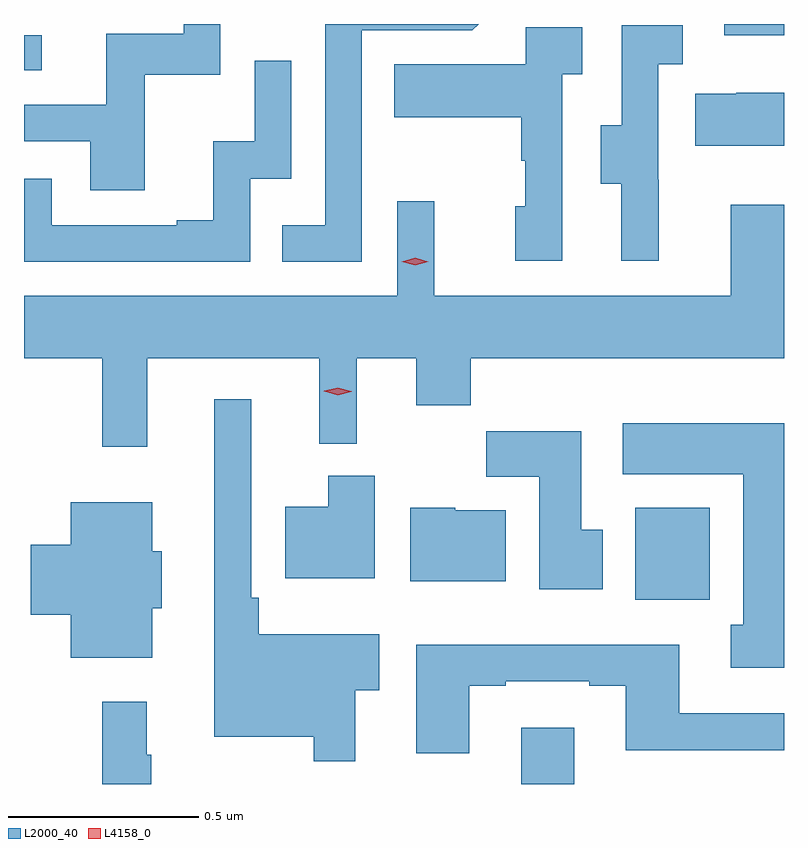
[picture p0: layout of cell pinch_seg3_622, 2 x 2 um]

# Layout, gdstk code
import gdstk
lib = gdstk.Library(unit=1e-6, precision=1e-09)
def R(c, l, rs):  # rectangles x0, y0, x1, y1
    for r in rs: c.add(gdstk.rectangle(r[:2], r[2:], *l))
def P(c, l, *ps):  # polygons
    for p in ps: c.add(gdstk.Polygon(p, *l))
L2000_40 = (2000, 40)
L4158_0 = (4158, 0)

pinch_seg3_622 = lib.new_cell('pinch_seg3_622')
R(pinch_seg3_622, L2000_40, [(1025.681,703.791,1025.821,703.939), (1025.981,704.276,1026.178,704.518), (1024.373,705.669,1024.42,705.762), (1026.216,705.761,1026.373,705.791)])
P(pinch_seg3_622, L2000_40, [(1024.691,705.657),(1024.89,705.657),(1024.89,705.791),(1024.794,705.791),(1024.794,705.765),(1024.589,705.765),(1024.589,705.579),(1024.373,705.579),(1024.373,705.483),(1024.547,705.483),(1024.547,705.354),(1024.691,705.354)],
  [(1025.262,705.774),(1025.553,705.774),(1025.57,705.791),(1025.166,705.791),(1025.166,705.261),(1025.053,705.261),(1025.053,705.165),(1025.262,705.165)],
  [(1026.044,705.381),(1026.042,705.381),(1026.042,705.685),(1026.106,705.685),(1026.106,705.788),(1025.946,705.788),(1025.946,705.525),(1025.891,705.525),(1025.891,705.37),(1025.945,705.37),(1025.945,705.168),(1026.044,705.168)],
  [(1025.79,705.659),(1025.842,705.659),(1025.842,705.783),(1025.694,705.783),(1025.694,705.685),(1025.347,705.685),(1025.347,705.545),(1025.682,705.545),(1025.682,705.431),(1025.692,705.431),(1025.692,705.312),(1025.666,705.312),(1025.666,705.168),(1025.79,705.168)],
  [(1024.968,705.384),(1025.076,705.384),(1025.076,705.694),(1024.98,705.694),(1024.98,705.482),(1024.871,705.482),(1024.871,705.274),(1024.775,705.274),(1024.775,705.261),(1024.446,705.261),(1024.446,705.384),(1024.373,705.384),(1024.373,705.165),(1024.968,705.165)],
  [(1026.373,705.61),(1026.247,705.61),(1026.247,705.607),(1026.139,705.607),(1026.139,705.47),(1026.373,705.47)],
  [(1024.697,704.912),(1025.15,704.912),(1025.15,704.687),(1025.248,704.687),(1025.248,704.912),(1025.405,704.912),(1025.405,704.788),(1025.549,704.788),(1025.549,704.912),(1026.373,704.912),(1026.373,705.316),(1026.233,705.316),(1026.233,705.076),(1025.453,705.076),(1025.453,705.325),(1025.355,705.325),(1025.355,705.076),(1024.373,705.076),(1024.373,704.912),(1024.579,704.912),(1024.579,704.679),(1024.697,704.679)],
  [(1025.245,704.038),(1025.308,704.038),(1025.308,704.185),(1024.991,704.185),(1024.991,704.281),(1024.971,704.281),(1024.971,704.803),(1024.874,704.803),(1024.874,703.916),(1025.136,703.916),(1025.136,703.851),(1025.245,703.851)],
  [(1026.373,704.74),(1025.949,704.74),(1025.949,704.606),(1026.266,704.606),(1026.266,704.21),(1026.233,704.21),(1026.233,704.097),(1026.373,704.097)],
  [(1025.896,704.46),(1025.839,704.46),(1025.839,704.719),(1025.59,704.719),(1025.59,704.6),(1025.729,704.6),(1025.729,704.304),(1025.896,704.304)],
  [(1025.296,704.602),(1025.174,704.602),(1025.174,704.521),(1025.06,704.521),(1025.06,704.333),(1025.296,704.333)],
  [(1024.711,704.253),(1024.735,704.253),(1024.735,704.403),(1024.711,704.403),(1024.711,704.533),(1024.496,704.533),(1024.496,704.42),(1024.391,704.42),(1024.391,704.237),(1024.496,704.237),(1024.496,704.123),(1024.711,704.123)],
  [(1025.641,704.512),(1025.508,704.512),(1025.508,704.518),(1025.39,704.518),(1025.39,704.324),(1025.641,704.324)],
  [(1025.545,704.049),(1025.641,704.049),(1025.641,704.061),(1025.861,704.061),(1025.861,704.049),(1025.957,704.049),(1025.957,703.88),(1026.373,703.88),(1026.373,703.977),(1026.097,703.977),(1026.097,704.158),(1025.405,704.158),(1025.405,703.872),(1025.545,703.872)],
  [(1024.708,703.868),(1024.696,703.868),(1024.696,704.008),(1024.579,704.008),(1024.579,703.791),(1024.708,703.791)])
P(pinch_seg3_622, L4158_0, [(1025.402,705.156),(1025.367,705.165),(1025.366,705.166),(1025.367,705.166),(1025.402,705.176),(1025.437,705.166),(1025.437,705.166),(1025.437,705.165)],
  [(1025.198,704.814),(1025.163,704.825),(1025.162,704.825),(1025.163,704.826),(1025.199,704.834),(1025.234,704.824),(1025.235,704.824),(1025.234,704.823)])

lib.write_gds('pinch_seg3_622.gds')
